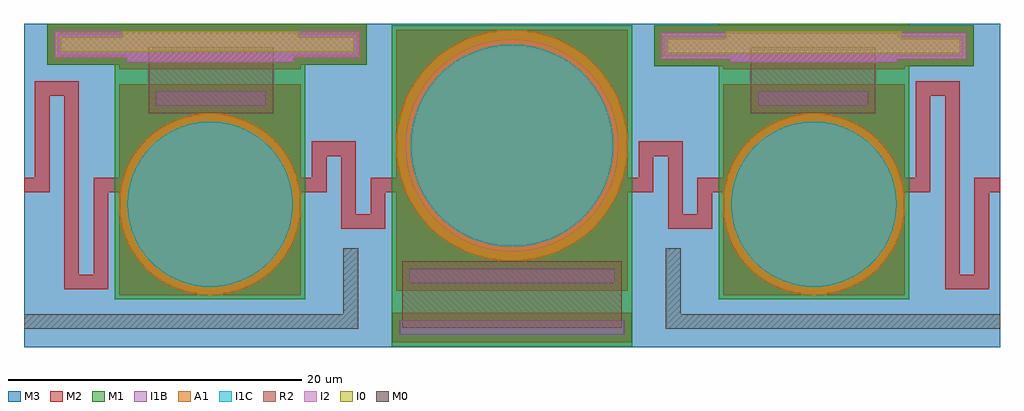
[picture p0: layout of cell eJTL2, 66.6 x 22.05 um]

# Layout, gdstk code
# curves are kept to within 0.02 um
from math import pi, radians
import gdstk
lib = gdstk.Library(unit=1e-6, precision=1e-09)
def R(c, l, rs):  # rectangles x0, y0, x1, y1
    for r in rs: c.add(gdstk.rectangle(r[:2], r[2:], *l))
def P(c, l, *ps):  # polygons
    for p in ps: c.add(gdstk.Polygon(p, *l))
M1 = (1, 0)
I1B = (3, 0)
I1C = (4, 0)
A1 = (5, 0)
M2 = (6, 0)
I2 = (8, 0)
R2 = (9, 0)
M3 = (10, 0)
M0 = (30, 0)
I0 = (31, 0)

meanderinductor_3 = lib.new_cell('MeanderInductor$3')
meanderinductor_3.add(gdstk.FlexPath([(-3.25,0),(-2,0),(-2,6.599),(0,6.599),(0,-6.599),(2,-6.599),(2,0),(3.25,0)], 1, ends="flush", simple_path=True, layer=6, datatype=0))  # M2

ak_qc1p2j000 = lib.new_cell('ak_qc1p2j000')
P(ak_qc1p2j000, I1B, [(0,-5.6),(-0.585,-5.569),(-1.164,-5.478),(-1.73,-5.326),(-2.188,-5.155),(-2.629,-4.945),(-3.131,-4.643),(-3.6,-4.29),(-3.96,-3.96),(-4.29,-3.6),(-4.643,-3.131),(-4.945,-2.629),(-5.155,-2.188),(-5.326,-1.73),(-5.478,-1.164),(-5.569,-0.585),(-5.6,0),(-5.569,0.585),(-5.478,1.164),(-5.326,1.73),(-5.155,2.188),(-4.945,2.629),(-4.643,3.131),(-4.29,3.6),(-3.96,3.96),(-3.6,4.29),(-3.131,4.643),(-2.629,4.945),(-2.188,5.155),(-1.73,5.326),(-1.164,5.478),(-0.585,5.569),(0,5.6),(0.585,5.569),(1.164,5.478),(1.73,5.326),(2.188,5.155),(2.629,4.945),(3.131,4.643),(3.6,4.29),(3.96,3.96),(4.29,3.6),(4.643,3.131),(4.945,2.629),(5.155,2.188),(5.326,1.73),(5.478,1.164),(5.569,0.585),(5.6,0),(5.569,-0.585),(5.478,-1.164),(5.326,-1.73),(5.155,-2.188),(4.945,-2.629),(4.643,-3.131),(4.29,-3.6),(3.96,-3.96),(3.6,-4.29),(3.131,-4.643),(2.629,-4.945),(2.188,-5.155),(1.73,-5.326),(1.164,-5.478),(0.585,-5.569)])
P(ak_qc1p2j000, I1C, [(0,-5.642),(-0.59,-5.611),(-1.077,-5.538),(-1.65,-5.395),(-2.113,-5.231),(-2.561,-5.027),(-3.073,-4.732),(-3.551,-4.385),(-3.989,-3.989),(-4.385,-3.551),(-4.732,-3.073),(-5.027,-2.561),(-5.231,-2.113),(-5.395,-1.65),(-5.538,-1.077),(-5.611,-0.59),(-5.642,0),(-5.611,0.59),(-5.538,1.077),(-5.395,1.65),(-5.231,2.113),(-5.027,2.561),(-4.732,3.073),(-4.385,3.551),(-3.989,3.989),(-3.551,4.385),(-3.073,4.732),(-2.561,5.027),(-2.113,5.231),(-1.65,5.395),(-1.077,5.538),(-0.59,5.611),(0,5.642),(0.59,5.611),(1.077,5.538),(1.65,5.395),(2.113,5.231),(2.561,5.027),(3.073,4.732),(3.551,4.385),(3.989,3.989),(4.385,3.551),(4.732,3.073),(5.027,2.561),(5.231,2.113),(5.395,1.65),(5.538,1.077),(5.611,0.59),(5.642,0),(5.611,-0.59),(5.538,-1.077),(5.395,-1.65),(5.231,-2.113),(5.027,-2.561),(4.732,-3.073),(4.385,-3.551),(3.989,-3.989),(3.551,-4.385),(3.073,-4.732),(2.561,-5.027),(2.113,-5.231),(1.65,-5.395),(1.077,-5.538),(0.59,-5.611)])
P(ak_qc1p2j000, A1, [(0,-6.2),(-0.648,-6.166),(-1.183,-6.086),(-1.709,-5.96),(-2.323,-5.749),(-2.911,-5.474),(-3.377,-5.2),(-3.902,-4.818),(-4.384,-4.384),(-4.818,-3.902),(-5.2,-3.377),(-5.474,-2.911),(-5.749,-2.323),(-5.96,-1.709),(-6.086,-1.183),(-6.166,-0.648),(-6.2,0),(-6.166,0.648),(-6.086,1.183),(-5.96,1.709),(-5.749,2.323),(-5.474,2.911),(-5.2,3.377),(-4.818,3.902),(-4.384,4.384),(-3.902,4.818),(-3.377,5.2),(-2.911,5.474),(-2.323,5.749),(-1.709,5.96),(-1.183,6.086),(-0.648,6.166),(0,6.2),(0.648,6.166),(1.183,6.086),(1.709,5.96),(2.323,5.749),(2.911,5.474),(3.377,5.2),(3.902,4.818),(4.384,4.384),(4.818,3.902),(5.2,3.377),(5.474,2.911),(5.749,2.323),(5.96,1.709),(6.086,1.183),(6.166,0.648),(6.2,0),(6.166,-0.648),(6.086,-1.183),(5.96,-1.709),(5.749,-2.323),(5.474,-2.911),(5.2,-3.377),(4.818,-3.902),(4.384,-4.384),(3.902,-4.818),(3.377,-5.2),(2.911,-5.474),(2.323,-5.749),(1.709,-5.96),(1.183,-6.086),(0.648,-6.166)])

ak_qc10r24 = lib.new_cell('ak_qc10r24')
R(ak_qc10r24, I1B, [(-4.1,-5.5,4.2,-3.5), (-3.7,-1.5,3.8,-0.5)])
R(ak_qc10r24, M2, [(-4.6,-6,4.7,-3), (-4.6,-2,4.7,0)])
R(ak_qc10r24, R2, [(-4.2,-4.5,4.3,0)])

ak_qc1p2j000s = lib.new_cell('ak_qc1p2j000s')
R(ak_qc1p2j000s, M1, [(-6.5,-12.3,6.5,6.5)])
R(ak_qc1p2j000s, I1B, [(-5.7,-11.7,5.7,-9.7)])
R(ak_qc1p2j000s, M2, [(-6.2,-12.2,6.2,-9.2), (-6.2,-8.2,6.2,6.2)])
ak_qc1p2j000s.add(gdstk.Reference(ak_qc1p2j000, (0,0)))
ak_qc1p2j000s.add(gdstk.Reference(ak_qc10r24, (0,-6.2)))

ak_qc1p2j000sgd = lib.new_cell('ak_qc1p2j000sgd')
R(ak_qc1p2j000sgd, I2, [(-5.7,-11.7,5.7,-9.7)])
R(ak_qc1p2j000sgd, M3, [(-6.2,-12.2,6.2,-9.2)])
R(ak_qc1p2j000sgd, I0, [(-6,-11.8,6,-10.7)])
ak_qc1p2j000sgd.add(gdstk.Reference(ak_qc1p2j000s, (0,0)))

meanderinductor_5 = lib.new_cell('MeanderInductor$5')
meanderinductor_5.add(gdstk.FlexPath([(-3.25,0),(-2,0),(-2,2.487),(0,2.487),(0,-2.487),(2,-2.487),(2,0),(3.25,0)], 1, ends="flush", simple_path=True, layer=6, datatype=0))  # M2

via_m3_m0 = lib.new_cell('Via$M3-M0')
via_m3_m0.add(gdstk.FlexPath([(-10.199,0),(10.199,0)], 1.399, ends="flush", simple_path=True, layer=3, datatype=0))  # I1B
via_m3_m0.add(gdstk.FlexPath([(-10.899,0),(10.899,0)], 2.799, ends="flush", simple_path=True, layer=6, datatype=0))  # M2
via_m3_m0.add(gdstk.FlexPath([(-10.899,0),(10.899,0)], 2.799, ends="flush", simple_path=True, layer=1, datatype=0))  # M1
via_m3_m0.add(gdstk.FlexPath([(-10.899,0),(10.899,0)], 2.799, ends="flush", simple_path=True, layer=10, datatype=0))  # M3
via_m3_m0.add(gdstk.FlexPath([(-10,0),(10,0)], 1, ends="flush", simple_path=True, layer=31, datatype=0))  # I0
via_m3_m0.add(gdstk.FlexPath([(-10.399,0),(10.399,0)], 1.8, ends="flush", simple_path=True, layer=8, datatype=0))  # I2

c_jj = lib.new_cell('JJ')
R(c_jj, M1, [(-8.21,-13.722,8.21,8.21)])
R(c_jj, I1B, [(-7.66,-12.922,7.66,-11.922), (-7,-9.41,7,-8.41)])
P(c_jj, I1B, [(0,-7.255),(-0.711,-7.22),(-1.415,-7.116),(-2.106,-6.943),(-2.777,-6.703),(-3.42,-6.399),(-4.031,-6.033),(-4.603,-5.608),(-5.13,-5.13),(-5.608,-4.603),(-6.033,-4.031),(-6.399,-3.42),(-6.703,-2.776),(-6.943,-2.106),(-7.116,-1.415),(-7.22,-0.711),(-7.255,0),(-7.22,0.711),(-7.116,1.415),(-6.943,2.106),(-6.703,2.777),(-6.399,3.42),(-6.033,4.031),(-5.608,4.603),(-5.13,5.13),(-4.603,5.608),(-4.031,6.033),(-3.42,6.399),(-2.777,6.703),(-2.106,6.943),(-1.415,7.116),(-0.711,7.22),(0,7.255),(0.711,7.22),(1.415,7.116),(2.106,6.943),(2.777,6.703),(3.42,6.399),(4.031,6.033),(4.603,5.608),(5.13,5.13),(5.608,4.603),(6.033,4.031),(6.399,3.42),(6.703,2.777),(6.943,2.106),(7.116,1.415),(7.22,0.711),(7.255,0),(7.22,-0.711),(7.116,-1.415),(6.943,-2.106),(6.703,-2.777),(6.399,-3.42),(6.033,-4.031),(5.608,-4.603),(5.13,-5.13),(4.603,-5.609),(4.031,-6.033),(3.42,-6.399),(2.776,-6.703),(2.106,-6.943),(1.415,-7.116),(0.711,-7.22)])
P(c_jj, I1C, [(0,-6.91),(-0.677,-6.877),(-1.348,-6.777),(-2.006,-6.612),(-2.644,-6.384),(-3.257,-6.094),(-3.839,-5.745),(-4.384,-5.341),(-4.886,-4.886),(-5.341,-4.384),(-5.745,-3.839),(-6.094,-3.257),(-6.384,-2.644),(-6.612,-2.006),(-6.777,-1.348),(-6.877,-0.677),(-6.91,0),(-6.877,0.677),(-6.777,1.348),(-6.612,2.006),(-6.384,2.644),(-6.094,3.257),(-5.745,3.839),(-5.341,4.384),(-4.886,4.886),(-4.384,5.341),(-3.839,5.745),(-3.257,6.094),(-2.644,6.384),(-2.006,6.612),(-1.348,6.777),(-0.677,6.877),(0,6.91),(0.677,6.877),(1.348,6.777),(2.006,6.612),(2.644,6.384),(3.257,6.094),(3.839,5.745),(4.384,5.341),(4.886,4.886),(5.341,4.384),(5.745,3.839),(6.094,3.257),(6.384,2.644),(6.612,2.006),(6.777,1.348),(6.877,0.677),(6.91,0),(6.877,-0.677),(6.777,-1.348),(6.612,-2.006),(6.384,-2.644),(6.094,-3.257),(5.745,-3.839),(5.341,-4.384),(4.886,-4.886),(4.384,-5.341),(3.839,-5.745),(3.257,-6.094),(2.644,-6.384),(2.006,-6.612),(1.348,-6.777),(0.677,-6.877)])
P(c_jj, A1, [(0,-7.91),(-0.775,-7.872),(-1.543,-7.758),(-2.296,-7.569),(-3.027,-7.308),(-3.729,-6.976),(-4.395,-6.577),(-5.018,-6.114),(-5.593,-5.593),(-6.115,-5.018),(-6.577,-4.395),(-6.976,-3.729),(-7.308,-3.027),(-7.569,-2.296),(-7.758,-1.543),(-7.872,-0.775),(-7.91,0),(-7.872,0.775),(-7.758,1.543),(-7.569,2.296),(-7.308,3.027),(-6.976,3.729),(-6.577,4.395),(-6.115,5.018),(-5.593,5.593),(-5.018,6.115),(-4.395,6.577),(-3.729,6.976),(-3.027,7.308),(-2.296,7.569),(-1.543,7.758),(-0.775,7.872),(0,7.91),(0.775,7.872),(1.543,7.758),(2.296,7.569),(3.027,7.308),(3.729,6.976),(4.395,6.577),(5.018,6.115),(5.593,5.593),(6.115,5.018),(6.577,4.395),(6.976,3.729),(7.308,3.027),(7.569,2.296),(7.758,1.543),(7.872,0.775),(7.91,0),(7.872,-0.775),(7.758,-1.543),(7.569,-2.296),(7.308,-3.027),(6.976,-3.729),(6.577,-4.395),(6.114,-5.018),(5.593,-5.593),(5.018,-6.115),(4.395,-6.577),(3.729,-6.976),(3.027,-7.308),(2.296,-7.569),(1.543,-7.758),(0.775,-7.872)])
R(c_jj, M2, [(-8.16,-13.422,8.16,-11.422), (-7.91,-9.91,7.91,-7.91), (-7.91,-7.91,7.91,7.91)])
R(c_jj, M3, [(-8.21,-13.722,8.21,8.21)])
c_jj.add(gdstk.FlexPath([(0,-7.91),(0,-12.422)], 15, ends="flush", simple_path=True, layer=9, datatype=0))  # R2

ejtl2 = lib.new_cell('eJTL2')
R(ejtl2, M3, [(-33.2,-11.05,33.4,11)])
ejtl2.add(gdstk.FlexPath([(-10.9,-4.3),(-10.9,-9.3),(-33.2,-9.3)], 1, ends="flush", simple_path=True, layer=30, datatype=0))  # M0
ejtl2.add(gdstk.FlexPath([(11.1,-4.3),(11.1,-9.3),(33.4,-9.3)], 1, ends="flush", simple_path=True, layer=30, datatype=0))  # M0
ejtl2.add(gdstk.Reference(meanderinductor_3, (-29.95,0)))
ejtl2.add(gdstk.Reference(meanderinductor_3, (30.15,0)))
ejtl2.add(gdstk.Reference(ak_qc1p2j000sgd, (-20.5,-1.3), x_reflection=True))
ejtl2.add(gdstk.Reference(ak_qc1p2j000sgd, (20.7,-1.3), rotation=pi))
ejtl2.add(gdstk.Reference(meanderinductor_5, (-11.05,0)))
ejtl2.add(gdstk.Reference(meanderinductor_5, (11.25,0)))
ejtl2.add(gdstk.Reference(via_m3_m0, (-20.7,9.6)))
ejtl2.add(gdstk.Reference(via_m3_m0, (20.7,9.5)))
ejtl2.add(gdstk.Reference(c_jj, (0.1,2.7)))

lib.write_gds('eJTL2.gds')
